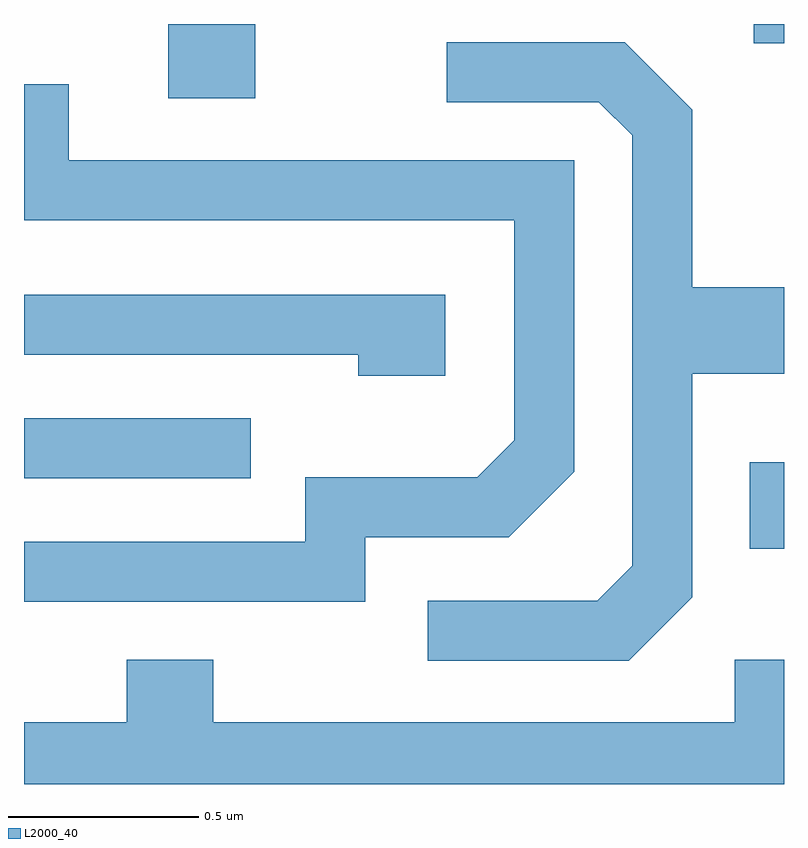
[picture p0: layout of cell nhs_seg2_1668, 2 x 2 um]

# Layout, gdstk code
import gdstk
lib = gdstk.Library(unit=1e-6, precision=1e-09)
def R(c, l, rs):  # rectangles x0, y0, x1, y1
    for r in rs: c.add(gdstk.rectangle(r[:2], r[2:], *l))
def P(c, l, *ps):  # polygons
    for p in ps: c.add(gdstk.Polygon(p, *l))
L2000_40 = (2000, 40)

nhs_seg2_1668 = lib.new_cell('nhs_seg2_1668')
R(nhs_seg2_1668, L2000_40, [(199.521,1002.421,199.611,1002.649), (197.611,1002.606,198.208,1002.764), (197.991,1003.606,198.219,1003.802), (199.531,1003.751,199.611,1003.802)])
P(nhs_seg2_1668, L2000_40, [(199.369,1002.294),(199.369,1002.881),(199.611,1002.881),(199.611,1003.109),(199.369,1003.109),(199.369,1003.577),(199.192,1003.754),(198.723,1003.754),(198.723,1003.596),(199.124,1003.596),(199.211,1003.509),(199.211,1002.377),(199.119,1002.284),(198.673,1002.284),(198.673,1002.126),(199.202,1002.126)],
  [(198.509,1002.451),(198.887,1002.451),(199.059,1002.624),(199.059,1003.444),(197.729,1003.444),(197.729,1003.643),(197.611,1003.643),(197.611,1003.286),(198.901,1003.286),(198.901,1002.707),(198.804,1002.609),(198.351,1002.609),(198.351,1002.439),(197.611,1002.439),(197.611,1002.281),(198.509,1002.281)],
  [(198.719,1003.089),(197.611,1003.089),(197.611,1002.931),(198.491,1002.931),(198.491,1002.876),(198.719,1002.876)],
  [(199.611,1002.129),(199.481,1002.129),(199.481,1001.964),(198.109,1001.964),(198.109,1002.129),(197.881,1002.129),(197.881,1001.964),(197.611,1001.964),(197.611,1001.802),(199.611,1001.802)])

lib.write_gds('nhs_seg2_1668.gds')
